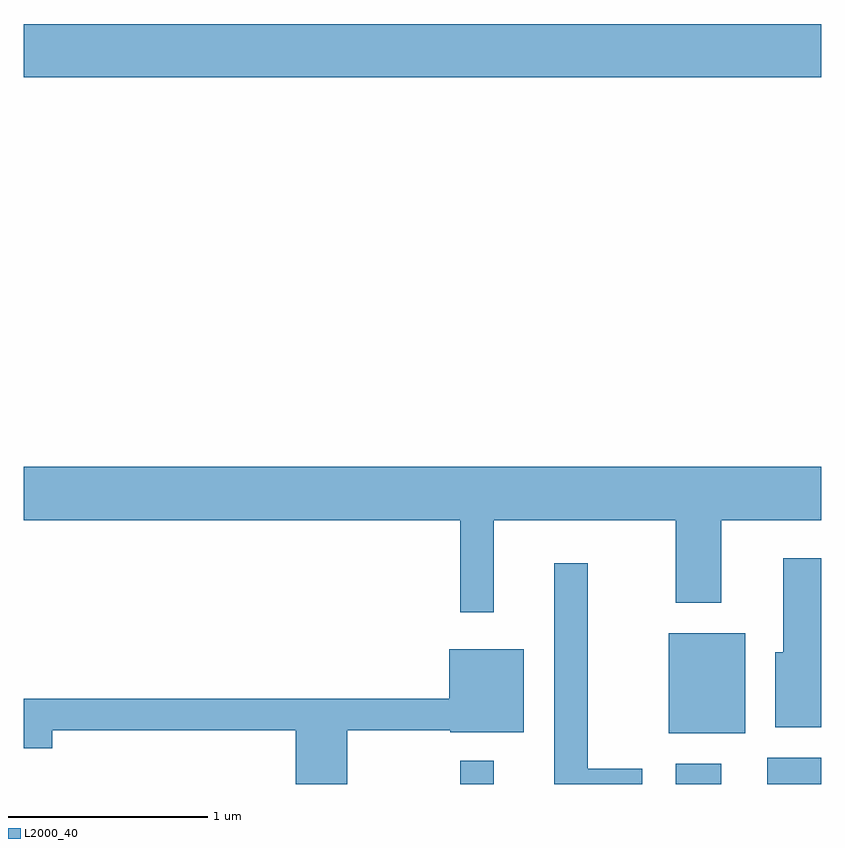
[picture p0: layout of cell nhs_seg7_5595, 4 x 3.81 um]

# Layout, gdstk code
import gdstk
lib = gdstk.Library(unit=1e-6, precision=1e-09)
def R(c, l, rs):  # rectangles x0, y0, x1, y1
    for r in rs: c.add(gdstk.rectangle(r[:2], r[2:], *l))
def P(c, l, *ps):  # polygons
    for p in ps: c.add(gdstk.Polygon(p, *l))
L2000_40 = (2000, 40)

nhs_seg7_5595 = lib.new_cell('nhs_seg7_5595')
R(nhs_seg7_5595, L2000_40, [(357.801,1786.252,357.969,1786.368), (358.881,1786.252,359.109,1786.354), (359.341,1786.252,359.611,1786.384), (358.846,1786.506,359.229,1787.009), (355.611,1789.796,359.611,1790.064)])
P(nhs_seg7_5595, L2000_40, [(357.969,1787.576),(358.881,1787.576),(358.881,1787.161),(359.109,1787.161),(359.109,1787.576),(359.611,1787.576),(359.611,1787.844),(355.611,1787.844),(355.611,1787.576),(357.801,1787.576),(357.801,1787.113),(357.969,1787.113)],
  [(359.611,1787.384),(359.421,1787.384),(359.421,1786.914),(359.381,1786.914),(359.381,1786.536),(359.611,1786.536)],
  [(358.714,1786.329),(358.439,1786.329),(358.439,1787.358),(358.271,1787.358),(358.271,1786.252),(358.714,1786.252)],
  [(357.234,1786.521),(357.75,1786.521),(357.75,1786.511),(358.119,1786.511),(358.119,1786.929),(357.746,1786.929),(357.746,1786.679),(355.611,1786.679),(355.611,1786.431),(355.754,1786.431),(355.754,1786.521),(356.976,1786.521),(356.976,1786.252),(357.234,1786.252)])

lib.write_gds('nhs_seg7_5595.gds')
